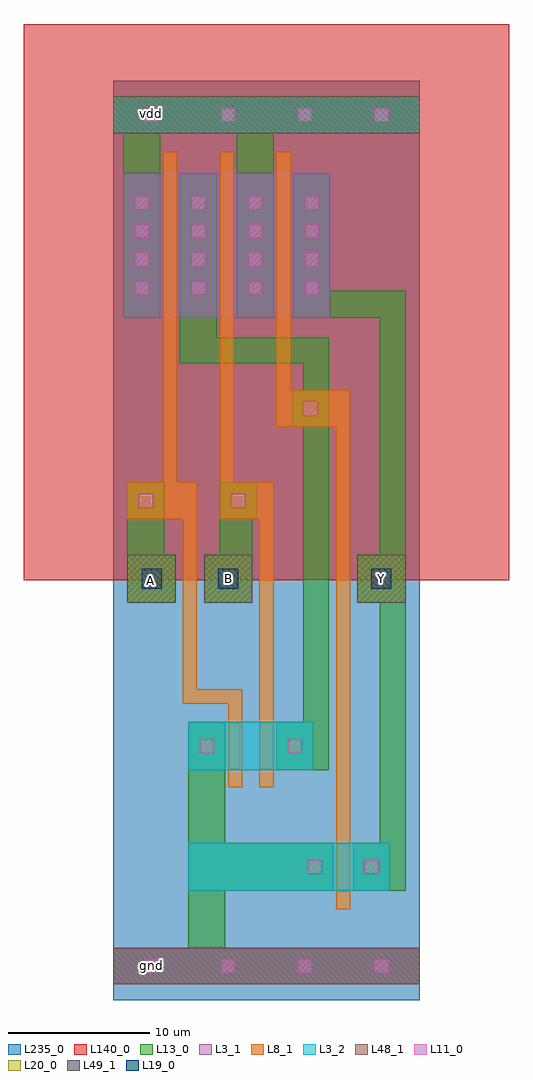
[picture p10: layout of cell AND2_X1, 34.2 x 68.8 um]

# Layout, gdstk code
import gdstk
lib = gdstk.Library(unit=1e-6, precision=1e-09)
def R(c, l, rs):  # rectangles x0, y0, x1, y1
    for r in rs: c.add(gdstk.rectangle(r[:2], r[2:], *l))
def A(c, l, x, y, w, h, nx, ny, dx, dy):  # array of equal rectangles
    R(c, l, [(x+i*dx, y+j*dy, x+i*dx+w, y+j*dy+h) for i in range(nx) for j in range(ny)])
def P(c, l, *ps):  # polygons
    for p in ps: c.add(gdstk.Polygon(p, *l))
L3_1 = (3, 1)
L3_2 = (3, 2)
L8_1 = (8, 1)
L11_0 = (11, 0)
L13_0 = (13, 0)
L19_0 = (19, 0)
L20_0 = (20, 0)
L48_1 = (48, 1)
L49_1 = (49, 1)
L140_0 = (140, 0)
L235_0 = (235, 0)

and2_x1 = lib.new_cell('AND2_X1')
R(and2_x1, L3_1, [(0,1.1,21.6,3.7), (0.7,48.1,7.3,58.3), (4.7,48.1,15.3,58.3)])
R(and2_x1, L3_2, [(5.3,7.7,19.5,11.1), (5.3,16.2,14.1,19.6), (0,61.1,21.6,63.7)])
R(and2_x1, L8_1, [(12.6,40.4,15.2,43)])
P(and2_x1, L8_1, [(15.7,6.4),(15.7,40.4),(11.5,40.4),(11.5,59.8),(12.5,59.8),(12.5,43),(16.7,43),(16.7,6.4)],
  [(8.1,15),(8.1,20.9),(4.9,20.9),(4.9,33.9),(1,33.9),(1,36.5),(3.5,36.5),(3.5,59.8),(4.5,59.8),(4.5,36.5),(5.9,36.5),(5.9,21.9),(9.1,21.9),(9.1,15)],
  [(10.3,15),(10.3,33.9),(7.5,33.9),(7.5,59.8),(8.5,59.8),(8.5,36.5),(11.3,36.5),(11.3,15)])
A(and2_x1, L11_0, 1.5, 49.7, 1, 1, 4, 4, 4, 2)
R(and2_x1, L11_0, [(2.2,1.9,3.2,2.9), (7.6,1.9,8.6,2.9), (7.6,1.9,8.6,2.9), (13,1.9,14,2.9), (13,1.9,14,2.9), (18.4,1.9,19.4,2.9), (13.7,8.9,14.7,9.9), (17.7,8.9,18.7,9.9), (6.1,17.4,7.1,18.4), (12.3,17.4,13.3,18.4), (1.8,34.7,2.8,35.7), (8.3,34.7,9.3,35.7), (13.4,41.2,14.4,42.2), (2.2,61.9,3.2,62.9), (2.2,61.9,3.2,62.9), (7.6,61.9,8.6,62.9), (7.6,61.9,8.6,62.9), (7.6,61.9,8.6,62.9), (7.6,61.9,8.6,62.9), (13,61.9,14,62.9), (13,61.9,14,62.9), (18.4,61.9,19.4,62.9)])
R(and2_x1, L13_0, [(0.7,48.1,3.3,61.1), (8.7,48.1,11.3,61.1), (0,61.1,21.6,63.7)])
P(and2_x1, L13_0, [(5.3,3.7),(5.3,19.6),(7.9,19.6),(7.9,11.1),(15.5,11.1),(15.5,7.7),(7.9,7.7),(7.9,3.7)],
  [(1,28),(1,36.5),(3.6,36.5),(3.6,31.4),(4.4,31.4),(4.4,28)],
  [(6.4,28),(6.4,31.4),(7.5,31.4),(7.5,36.5),(10.1,36.5),(10.1,33.9),(9.8,33.9),(9.8,28)],
  [(11.5,16.2),(11.5,19.6),(13.4,19.6),(13.4,40.4),(12.6,40.4),(12.6,43),(13.4,43),(13.4,44.9),(4.7,44.9),(4.7,58.3),(7.3,58.3),(7.3,46.7),(15.2,46.7),(15.2,16.2)],
  [(16.9,7.7),(16.9,11.1),(18.8,11.1),(18.8,28),(17.2,28),(17.2,31.4),(18.8,31.4),(18.8,48.1),(12.7,48.1),(12.7,58.3),(15.3,58.3),(15.3,50),(20.6,50),(20.6,7.7)],
  [(0,1.1),(0,3.7),(0.7,3.7),(3.3,3.7),(21.6,3.7),(21.6,1.1)])
R(and2_x1, L19_0, [(2,29,3.4,30.4), (7.4,29,8.8,30.4), (18.2,29,19.6,30.4)])
R(and2_x1, L20_0, [(1,28,4.4,31.4), (6.4,28,9.8,31.4), (17.2,28,20.6,31.4)])
R(and2_x1, L48_1, [(0,1.1,21.6,3.7), (0,61.1,21.6,63.7)])
R(and2_x1, L49_1, [(1,28,4.4,31.4), (6.4,28,9.8,31.4), (17.2,28,20.6,31.4)])
R(and2_x1, L140_0, [(-6.3,29.6,27.9,68.8)])
R(and2_x1, L235_0, [(0,0,21.6,64.8)])
and2_x1.add(gdstk.Label('Y', (18.9,29.7), layer=49, texttype=0))
and2_x1.add(gdstk.Label('A', (2.6,29.6), layer=49, texttype=0))
and2_x1.add(gdstk.Label('B', (8.1,29.7), layer=49, texttype=0))
and2_x1.add(gdstk.Label('gnd', (2.7,2.4), layer=48, texttype=0))
and2_x1.add(gdstk.Label('vdd', (2.7,62.5), layer=48, texttype=0))

lib.write_gds('AND2_X1.gds')
